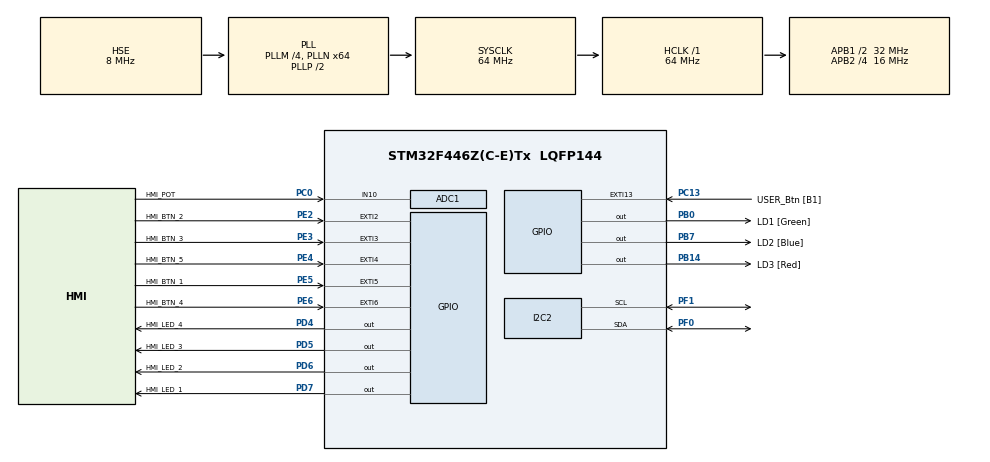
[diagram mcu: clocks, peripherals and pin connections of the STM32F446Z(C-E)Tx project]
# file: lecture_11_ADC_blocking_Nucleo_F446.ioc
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ADC1.Channel-3\#ChannelRegularConversion=ADC_CHANNEL_10
ADC1.NbrOfConversionFlag=1
ADC1.Rank-3\#ChannelRegularConversion=1
ADC1.SamplingTime-3\#ChannelRegularConversion=ADC_SAMPLETIME_3CYCLES
ADC1.master=1
Mcu.Family=STM32F4
Mcu.Name=STM32F446Z(C-E)Tx
Mcu.Package=LQFP144
NVIC.EXTI15_10_IRQn=true\:0\:0\:false\:false\:true\:true\:true\:true
NVIC.EXTI2_IRQn=true\:0\:0\:false\:false\:true\:true\:true\:true
NVIC.EXTI3_IRQn=true\:0\:0\:false\:false\:true\:true\:true\:true
NVIC.EXTI4_IRQn=true\:0\:0\:false\:false\:true\:true\:true\:true
NVIC.EXTI9_5_IRQn=true\:0\:0\:false\:false\:true\:true\:true\:true
NVIC.PriorityGroup=NVIC_PRIORITYGROUP_4
PA13.Mode=Serial_Wire
PA13.Signal=SYS_JTMS-SWDIO
PA14.Mode=Serial_Wire
PA14.Signal=SYS_JTCK-SWCLK
PB0.GPIO_Label=LD1 [Green]
PB0.Signal=GPIO_Output
PB14.GPIO_Label=LD3 [Red]
PB14.Signal=GPIO_Output
PB7.GPIO_Label=LD2 [Blue]
PB7.Signal=GPIO_Output
PC0.GPIO_Label=HMI_POT
PC0.Signal=ADCx_IN10
PC13.GPIO_Label=USER_Btn [B1]
PC13.Signal=GPXTI13
PC14-OSC32_IN.Mode=LSE-External-Oscillator
PC14-OSC32_IN.Signal=RCC_OSC32_IN
PC15-OSC32_OUT.Mode=LSE-External-Oscillator
PC15-OSC32_OUT.Signal=RCC_OSC32_OUT
PD4.GPIO_Label=HMI_LED_4
PD4.GPIO_ModeDefaultOutputPP=GPIO_MODE_OUTPUT_PP
PD4.GPIO_PuPd=GPIO_NOPULL
PD4.GPIO_Speed=GPIO_SPEED_FREQ_LOW
PD4.PinState=GPIO_PIN_RESET
PD4.Signal=GPIO_Output
PD5.GPIO_Label=HMI_LED_3
PD5.GPIO_ModeDefaultOutputPP=GPIO_MODE_OUTPUT_PP
PD5.GPIO_PuPd=GPIO_NOPULL
PD5.GPIO_Speed=GPIO_SPEED_FREQ_LOW
PD5.PinState=GPIO_PIN_RESET
PD5.Signal=GPIO_Output
PD6.GPIO_Label=HMI_LED_2
PD6.GPIO_ModeDefaultOutputPP=GPIO_MODE_OUTPUT_PP
PD6.GPIO_PuPd=GPIO_NOPULL
PD6.GPIO_Speed=GPIO_SPEED_FREQ_LOW
PD6.PinState=GPIO_PIN_RESET
PD6.Signal=GPIO_Output
PD7.GPIO_Label=HMI_LED_1
PD7.GPIO_ModeDefaultOutputPP=GPIO_MODE_OUTPUT_PP
PD7.GPIO_PuPd=GPIO_NOPULL
PD7.GPIO_Speed=GPIO_SPEED_FREQ_LOW
PD7.PinState=GPIO_PIN_RESET
PD7.Signal=GPIO_Output
PE2.GPIO_Label=HMI_BTN_2
PE2.GPIO_ModeDefaultEXTI=GPIO_MODE_IT_RISING_FALLING
PE2.Signal=GPXTI2
PE3.GPIO_Label=HMI_BTN_3
PE3.GPIO_ModeDefaultEXTI=GPIO_MODE_IT_RISING_FALLING
PE3.Signal=GPXTI3
PE4.GPIO_Label=HMI_BTN_5
PE4.GPIO_ModeDefaultEXTI=GPIO_MODE_IT_RISING_FALLING
PE4.Signal=GPXTI4
PE5.GPIO_Label=HMI_BTN_1
PE5.GPIO_ModeDefaultEXTI=GPIO_MODE_IT_RISING_FALLING
PE5.Signal=GPXTI5
PE6.GPIO_Label=HMI_BTN_4
PE6.GPIO_ModeDefaultEXTI=GPIO_MODE_IT_RISING_FALLING
PE6.Signal=GPXTI6
PF0.Mode=I2C
PF0.Signal=I2C2_SDA
PF1.Mode=I2C
PF1.Signal=I2C2_SCL
PH0-OSC_IN.Mode=HSE-External-Clock-Source
PH0-OSC_IN.Signal=RCC_OSC_IN
PH1-OSC_OUT.Mode=HSE-External-Clock-Source
PH1-OSC_OUT.Signal=RCC_OSC_OUT
ProjectManager.HeapSize=0x200
ProjectManager.StackSize=0x400
ProjectManager.TargetToolchain=STM32CubeIDE
RCC.48MHZClocksFreq_Value=24000000
RCC.AHBFreq_Value=64000000
RCC.APB1CLKDivider=RCC_HCLK_DIV2
RCC.APB1Freq_Value=32000000
RCC.APB1TimFreq_Value=64000000
RCC.APB2CLKDivider=RCC_HCLK_DIV4
RCC.APB2Freq_Value=16000000
RCC.APB2TimFreq_Value=32000000
RCC.CortexFreq_Value=64000000
RCC.HCLKFreq_Value=64000000
RCC.HSE_VALUE=8000000
RCC.HSI_VALUE=16000000
RCC.PLLM=4
RCC.PLLMUL=RCC_PLL_MUL9
RCC.PLLN=64
RCC.PLLQ=7
RCC.PLLSourceVirtual=RCC_PLLSOURCE_HSE
RCC.PRESCALERUSB=RCC_USBCLKSOURCE_PLL_DIV1_5
RCC.SYSCLKFreq_VALUE=64000000
RCC.SYSCLKSource=RCC_SYSCLKSOURCE_PLLCLK
RCC.SYSCLKSourceVirtual=RCC_SYSCLKSOURCE_PLLCLK
RCC.USBFreq_Value=18285714.285714287
RCC.VCOOutputFreq_Value=128000000
SH.ADCx_IN10.0=ADC1_IN10,IN10
board=NUCLEO-F446ZE

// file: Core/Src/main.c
/* USER CODE BEGIN Header */
/**
  ******************************************************************************
  * @file           : main.c
  * @brief          : Main program body
  ******************************************************************************
  * @attention
  *
  * Copyright (c) 2024 STMicroelectronics.
  * All rights reserved.
  *
  * This software is licensed under terms that can be found in the LICENSE file
  * in the root directory of this software component.
  * If no LICENSE file comes with this software, it is provided AS-IS.
  *
  ******************************************************************************
  */
/* USER CODE END Header */
#include "main.h"
#include "adc.h"
#include "i2c.h"
#include "gpio.h"

/* USER CODE BEGIN Includes */
#include "OLED.h"
#include "stdio.h"
/* USER CODE END Includes */

void SystemClock_Config(void);

int main(void)
{

  /* MCU Configuration--------------------------------------------------------*/

  /* Reset of all peripherals, Initializes the Flash interface and the Systick. */
  HAL_Init();

  /* Configure the system clock */
  SystemClock_Config();

  /* Initialize all configured peripherals */
  MX_GPIO_Init();
  MX_ADC1_Init();
  MX_I2C2_Init();
  /* USER CODE BEGIN 2 */
  OLED_Init();

  char adc_char[11];
  /* 32-bit variable to store the result of the conversion */
  uint32_t adc;

  /* USER CODE END 2 */

  /* Infinite loop */
  while (1)
  {

    /* USER CODE BEGIN 3 */
	  /* Start the conversion in blocking mode */
	  HAL_ADC_Start(&hadc1);
	  /* Check if the conversion was successful? */
	  if(HAL_ADC_PollForConversion(&hadc1, 10)==HAL_OK)
	  {
		  /* Read the result of the conversion */
		  adc = HAL_ADC_GetValue(&hadc1);
	  }

	  /* Display management */
	  sprintf(adc_char, "%d", (uint16_t)adc);

	  OLED_Fill(Black);

	  OLED_SetCursor(2, 0);
	  OLED_WriteString("ADC value", Font_11x18, White);
	  OLED_SetCursor(2, 18);
	  OLED_WriteString(adc_char, Font_11x18, White);
	  sprintf(adc_char, "%dmV", (uint16_t)(adc*0.806));
	  OLED_SetCursor(2, 18+18);
	  OLED_WriteString(adc_char, Font_11x18, White);

	  OLED_UpdateScreen();

	  HAL_Delay(200);
  }
  /* USER CODE END 3 */
}

void SystemClock_Config(void)
{
  RCC_OscInitTypeDef RCC_OscInitStruct = {0};
  RCC_ClkInitTypeDef RCC_ClkInitStruct = {0};

  /** Configure the main internal regulator output voltage
  */
  __HAL_RCC_PWR_CLK_ENABLE();
  __HAL_PWR_VOLTAGESCALING_CONFIG(PWR_REGULATOR_VOLTAGE_SCALE3);

  /** Initializes the RCC Oscillators according to the specified parameters
  * in the RCC_OscInitTypeDef structure.
  */
  RCC_OscInitStruct.OscillatorType = RCC_OSCILLATORTYPE_HSE;
  RCC_OscInitStruct.HSEState = RCC_HSE_BYPASS;
  RCC_OscInitStruct.PLL.PLLState = RCC_PLL_ON;
  RCC_OscInitStruct.PLL.PLLSource = RCC_PLLSOURCE_HSE;
  RCC_OscInitStruct.PLL.PLLM = 4;
  RCC_OscInitStruct.PLL.PLLN = 64;
  RCC_OscInitStruct.PLL.PLLP = RCC_PLLP_DIV2;
  RCC_OscInitStruct.PLL.PLLQ = 7;
  RCC_OscInitStruct.PLL.PLLR = 2;
  if (HAL_RCC_OscConfig(&RCC_OscInitStruct) != HAL_OK)
  {
    Error_Handler();
  }

  /** Initializes the CPU, AHB and APB buses clocks
  */
  RCC_ClkInitStruct.ClockType = RCC_CLOCKTYPE_HCLK|RCC_CLOCKTYPE_SYSCLK
                              |RCC_CLOCKTYPE_PCLK1|RCC_CLOCKTYPE_PCLK2;
  RCC_ClkInitStruct.SYSCLKSource = RCC_SYSCLKSOURCE_PLLCLK;
  RCC_ClkInitStruct.AHBCLKDivider = RCC_SYSCLK_DIV1;
  RCC_ClkInitStruct.APB1CLKDivider = RCC_HCLK_DIV2;
  RCC_ClkInitStruct.APB2CLKDivider = RCC_HCLK_DIV4;

  if (HAL_RCC_ClockConfig(&RCC_ClkInitStruct, FLASH_LATENCY_2) != HAL_OK)
  {
    Error_Handler();
  }
}

void Error_Handler(void)
{
  __disable_irq();
  while (1)
  {
  }
}
